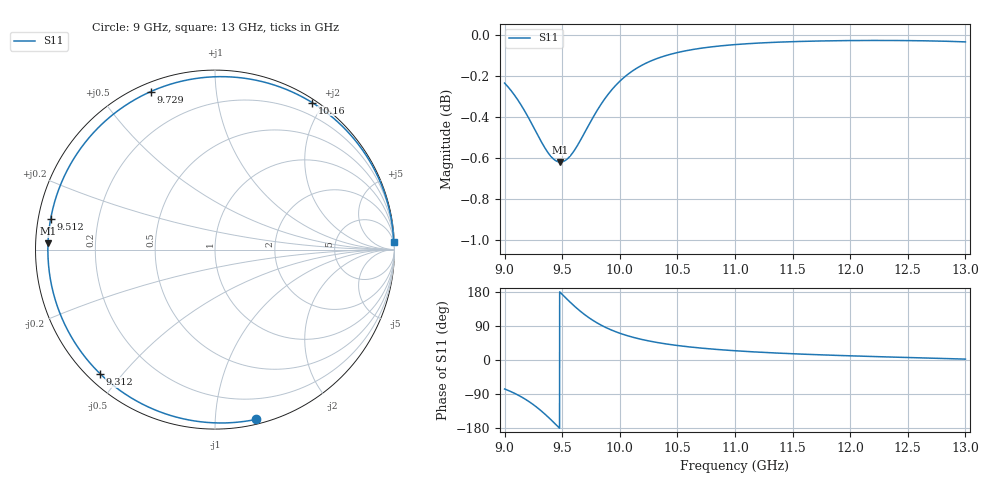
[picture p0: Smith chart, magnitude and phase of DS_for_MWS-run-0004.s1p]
! TOUCHSTONE file generated by CST DESIGN STUDIO
! Date and time: Tue Feb  4 12:47:55 2025
! Project name: C:\Work\MatlabApps\UnitCellOptimizationMatlab\CST\unitcell.cst
! Tree item: Tasks\Sweep1\SPara1\S-Parameters
! Header version: 2024
! Port assignment regex: !\s*Touchstone port\s*([0-9]+)\s*=\s*(CST MWS port|CST DES external port|CST DES block port)\s*(.+)\s* \(\"(.*)\"\)(\s*mode\s*([0-9]+))?.*
! Touchstone port assignment:
! Touchstone port 1 = CST DES external port 1 ("")
# GHz S MA R 50
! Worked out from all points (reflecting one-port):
!   4001 points, 9 GHz to 13 GHz, reference 50 ohm
!   lowest |S11| = -0.6 dB at 9.484 GHz (marker M1), VSWR 28.05, Z = 1.78 + j0.92 ohm
!   phase of S11 starts at -76 deg and turns -281 deg over the sweep
!   S11 on the Smith chart (normalised r, x): 9 GHz: 0.04, -1.27; 9.312 GHz: 0.04, -0.44; 9.512 GHz: 0.04, +0.09; 9.729 GHz: 0.04, +0.67; 10.16 GHz: 0.04, +1.86; 13 GHz: 5, +48
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9  0.9732 -76.5
9.079  0.9673 -86.8
9.178  0.9578 -103.2
9.247  0.95 -117.3
9.312  0.9425 -132.8
9.357  0.9379 -144.7
9.405  0.9339 -158.4
9.445  0.9318 -170.3
9.484  0.9312 177.9
9.5  0.9313 173.0
9.512  0.9315 169.4
9.564  0.934 154.0
9.624  0.939 137.3
9.676  0.9445 124.2
9.729  0.9505 112.2
9.783  0.9564 101.5
9.843  0.9623 91.1
9.92  0.9688 80.0
10  0.9742 70.6
10.158  0.9818 56.6
10.313  0.9865 46.8
10.5  0.99 38.3
10.722  0.9926 31.0
11  0.9944 24.4
11.5  0.9961 16.5
12  0.9967 11.0
12.5  0.9967 6.6
13  0.9959 2.3
